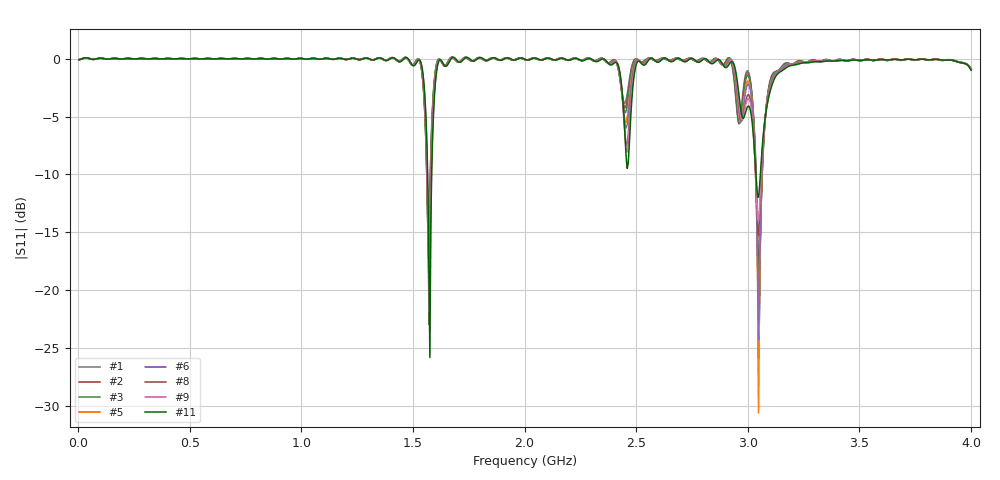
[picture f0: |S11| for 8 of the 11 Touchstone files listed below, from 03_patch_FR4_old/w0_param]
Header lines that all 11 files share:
! TOUCHSTONE file generated by CST MICROWAVE STUDIO
! Project name: AppElm_antenne_patch_FR4.cst
! Header version: 2018
! Port assignment regex: !\s*Touchstone port\s*([0-9]+)\s*=\s*(CST MWS port|CST DS port)\s*([0-9]+|Zmin|Zmax)\s*\(\"(.*)\"\)(\s*mode\s*([0-9]+))?.*
! Touchstone port assignment:
! Touchstone port 1 = CST MWS port 1 ("")
# GHz S MA R 50
Fixed: L = 45, W = 58.5, e = 0.035, h = 1.6, lambda = 0.190476, ls = 120, w1 = 0.533, ws = 120, y0 = 20, y1 = 23.81
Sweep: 4 MHz to 4 GHz
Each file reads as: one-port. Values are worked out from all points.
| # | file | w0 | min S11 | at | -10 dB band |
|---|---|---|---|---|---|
| 1 | AppElm_antenne_patch_FR4_1.s1p | 1.2 | -18.3 dB | 3.052 GHz | 26.85 MHz wide |
| 2 | AppElm_antenne_patch_FR4_2.s1p | 1.28 | -21.1 dB | 3.048 GHz | 27.62 MHz wide |
| 3 | AppElm_antenne_patch_FR4_3.s1p | 1.36 | -25.9 dB | 3.048 GHz | 27.99 MHz wide |
| 4 | AppElm_antenne_patch_FR4_4.s1p | 1.44 | -34.5 dB | 3.048 GHz | 28.28 MHz wide |
| 5 | AppElm_antenne_patch_FR4_5.s1p | 1.52 | -30.6 dB | 3.048 GHz | 28.27 MHz wide |
| 6 | AppElm_antenne_patch_FR4_6.s1p | 1.6 | -24.3 dB | 3.048 GHz | 28.04 MHz wide |
| 7 | AppElm_antenne_patch_FR4_7.s1p | 1.68 | -21.7 dB | 1.572 GHz | 27.58 MHz wide |
| 8 | AppElm_antenne_patch_FR4_8.s1p | 1.76 | -23.0 dB | 1.572 GHz | 25.58 MHz wide |
| 9 | AppElm_antenne_patch_FR4_9.s1p | 1.84 | -21.9 dB | 1.572 GHz | 24.2 MHz wide |
| 10 | AppElm_antenne_patch_FR4_10.s1p | 1.92 | -23.4 dB | 1.576 GHz | 22.41 MHz wide |
| 11 | AppElm_antenne_patch_FR4_11.s1p | 2 | -25.8 dB | 1.576 GHz | 20.14 MHz wide |
